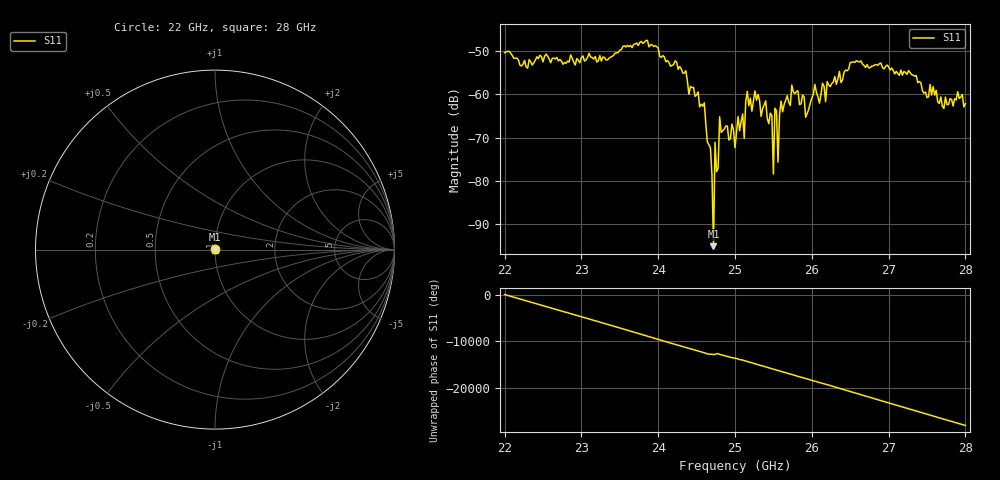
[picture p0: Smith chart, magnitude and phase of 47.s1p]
#  HZ  S  RI  R  50.00
! Rohde & Schwarz ZVA40 4Ports - Version 3.90 - 1145.1110k42 SN: 100403
! Date: 2023-10-04 08:49:55
! Measurement: S12
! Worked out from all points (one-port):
!   301 points, 22 GHz to 28 GHz, reference 50 ohm
!   lowest |S11| = -95.1 dB at 24.72 GHz (marker M1), VSWR 1.00, Z = 50 + j0.00169 ohm
!   |S11| at or under -10 dB: start of sweep to end of sweep
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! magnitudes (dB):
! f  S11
! 22 GHz  -50.4
! 22.76 GHz  -53.0
! 23.5 GHz  -49.8
! 24.26 GHz  -54.2
! 24.6 GHz  -61.9
! 24.72 GHz  -95.1
! 24.74 GHz  -71.1
! 24.78 GHz  -77.1
! 24.8 GHz  -65.2
! 25 GHz  -72.3
! 25.04 GHz  -65.1
! 25.12 GHz  -70.2
! 25.16 GHz  -59.3
! 25.22 GHz  -63.9
! 25.26 GHz  -59.2
! 25.48 GHz  -64.9
! 25.5 GHz  -78.4
! 25.52 GHz  -63.2
! 25.54 GHz  -63.8
! 25.56 GHz  -75.7
! 25.6 GHz  -61.5
! 25.76 GHz  -59.5
! 25.92 GHz  -65.3
! 26.04 GHz  -57.7
! 26.18 GHz  -61.7
! 26.5 GHz  -52.6
! 27.26 GHz  -54.5
! 28 GHz  -62.1
